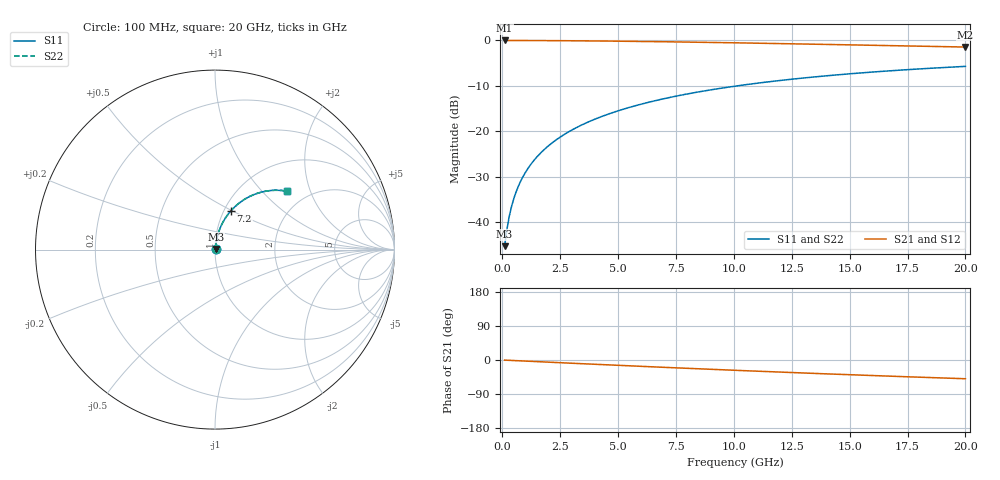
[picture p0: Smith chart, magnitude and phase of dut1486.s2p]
! Touchstone file exported from HFSS 2026.1.0
!  File:  C:/ffzhzh/LocalFiles/Ansys_Project_Files/temp_train_BSMRDL_1486_1783181397_51560.aedt
!  Generated:  12:11:16 AM Jul  5, 2026
!  Design:  BSMRDL
!  Project:  temp_train_BSMRDL_1486_1783181397_51560
! Variables:
!  h_bsmrdl = 4.78um
!  h_ox = 20um
!  h_rdl = 5um
!  h_sub = 80um
!  h_tmrdl = 5um
!  h_tsv = 80um
!  h_via = 3um
!  l_bsmrdl = 697.82um
!  l_sub = 1097.82um
!  l_tmrdl = 200um
!  m_sub = 200um
!  pitch = 47.99um
!  r_tsv = 6um
!  s_tmrdl = 10um
!  w_bsmrdl = 12.92um
!  w_sub = 500um
!  w_tmrdl = 12um
!  x_tsv_center1 = 206um
!  x_tsv_center2 = 916.74um
!  x_tsv_center3 = 1128.74um
!  x_tsv_center4 = 1839.48um
!  x_tsv_center5 = 2051.48um
!  x_tsv_center6 = 2762.22um
# GHz S MA R 50.000000
! Terminal data exported
! Port[1] = BSM_RDL1_1_T1
! Port[2] = BSM_RDL1_1_T2
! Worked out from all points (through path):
!   200 points, 100 MHz to 20 GHz, reference 50 ohm
!   highest |S21| = -0.04 dB at 100 MHz (marker M1); lowest = -1.5 dB at 20 GHz (marker M2)
!   group delay of S21, straight-line fit = 6.87 ps
!   lowest |S11| = -45.3 dB at 100 MHz (marker M3), VSWR 1.01, Z = 50.4 + j0.362 ohm
!   |S11| at or under -10 dB: start of sweep to 10.19 GHz
!   |S22| runs from -45.3 to -5.7 dB; largest |S21 - S12| = 8.3e-15
!   S11 on the Smith chart (normalised r, x): 100 MHz: 1.01, +0.01; 7.2 GHz: 1.08, +0.49; 20 GHz: 1.58, +1.40
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0.1  0.005417 41.5  0.996 -0.3  0.996 -0.3  0.005417 41.5
! Gamma 0 0 0 0
! Port Impedance 50 0 50 0
0.2  0.008282 59.5  0.9958 -0.6  0.9958 -0.6  0.008282 59.5
0.3  0.01151 67.5  0.9957 -0.9  0.9957 -0.9  0.01151 67.5
0.4  0.01483 71.8  0.9956 -1.2  0.9956 -1.2  0.01483 71.8
0.5  0.01819 74.5  0.9954 -1.5  0.9954 -1.5  0.01819 74.5
0.6  0.02156 76.2  0.9953 -1.7  0.9953 -1.7  0.02156 76.2
0.8  0.02834 78.3  0.995 -2.3  0.995 -2.3  0.02834 78.3
1.1  0.03856 79.7  0.9945 -3.2  0.9945 -3.2  0.03856 79.7
1.5  0.05219 80.2  0.9936 -4.3  0.9936 -4.3  0.05219 80.2
1.8  0.06239 80.0  0.9928 -5.2  0.9928 -5.2  0.06239 80.0
2.1  0.07256 79.7  0.992 -6.0  0.992 -6.0  0.07255 79.7
2.7  0.09273 78.6  0.9898 -7.7  0.9898 -7.7  0.09272 78.7
3.5  0.1192 76.9  0.9863 -9.9  0.9863 -9.9  0.1192 76.9
4.2  0.1419 75.2  0.9826 -11.9  0.9826 -11.9  0.1419 75.2
5  0.1673 73.2  0.9779 -14.1  0.9779 -14.1  0.1673 73.2
6.8  0.2222 68.7  0.9655 -18.9  0.9655 -18.9  0.2222 68.7
7.2  0.234 67.7  0.9624 -19.9  0.9624 -19.9  0.2339 67.7
8.6  0.2737 64.2  0.9511 -23.5  0.9511 -23.5  0.2737 64.2
10.1  0.3139 60.6  0.9379 -27.3  0.9379 -27.3  0.3139 60.6
13.4  0.3935 52.9  0.9066 -35.2  0.9066 -35.2  0.3935 52.9
16.7  0.4608 45.7  0.8742 -42.6  0.8742 -42.6  0.4607 45.8
20  0.5163 39.0  0.8428 -49.5  0.8428 -49.5  0.5163 39.1
